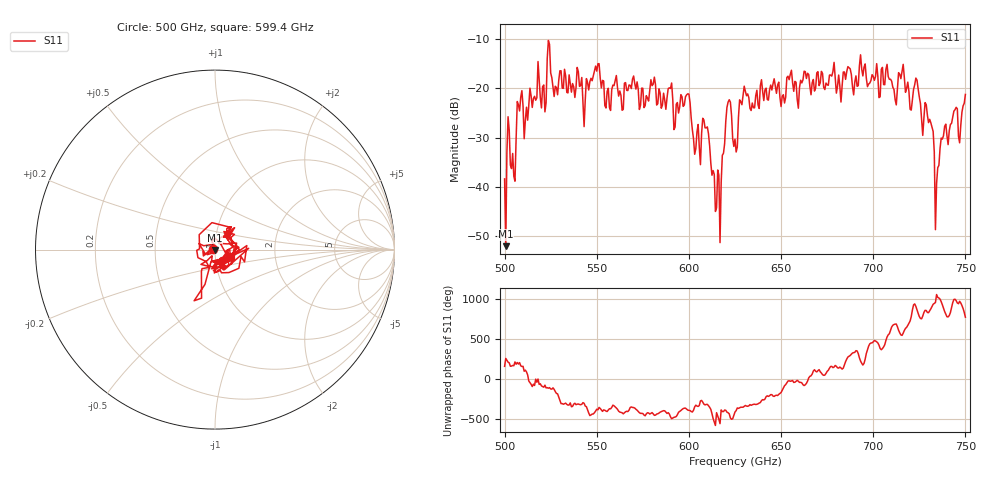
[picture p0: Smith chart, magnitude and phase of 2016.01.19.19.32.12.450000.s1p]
!Created with skrf (http://scikit-rf.org).
# GHz S RI R 50.0
!freq ReS11 ImS11
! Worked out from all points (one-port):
!   401 points, 500 GHz to 750 GHz, reference 50 ohm
!   lowest |S11| = -52.1 dB at 500.6 GHz (marker M1), VSWR 1.00, Z = 50 - j0.244 ohm
!   |S11| at or under -10 dB: start of sweep to end of sweep
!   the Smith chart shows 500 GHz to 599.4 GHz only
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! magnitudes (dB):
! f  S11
! 500 GHz  -38.4
! 500.6 GHz  -52.1
! 502.5 GHz  -28.5
! 505 GHz  -37.9
! 508.1 GHz  -24.6
! 521.2 GHz  -19.3
! 524.4 GHz  -11.0
! 527.5 GHz  -19.6
! 531.2 GHz  -19.9
! 543.8 GHz  -22.4
! 550 GHz  -16.5
! 562.5 GHz  -20.5
! 580.6 GHz  -19.1
! 593.8 GHz  -22.9
! 599.4 GHz  -21.1
! 605 GHz  -27.3
! 608.8 GHz  -28.0
! 615.6 GHz  -36.6
! 621.2 GHz  -22.8
! 625 GHz  -30.3
! 630.6 GHz  -20.6
! 656.2 GHz  -18.8
! 687.5 GHz  -16.0
! 718.8 GHz  -18.7
! 729.4 GHz  -25.4
! 734.4 GHz  -39.3
! 738.1 GHz  -29.6
! 750 GHz  -21.2
